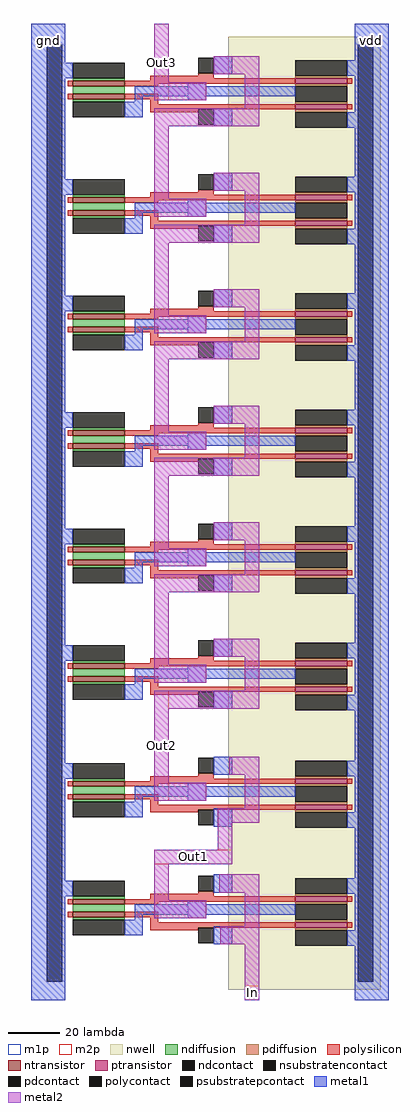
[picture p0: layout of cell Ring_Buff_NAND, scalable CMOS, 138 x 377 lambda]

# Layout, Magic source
magic
tech scmos
magscale 1 2
<< nwell >>
rect 153 174 172 188
<< metal1 >>
rect 0 0 26 754
rect 250 0 276 754
<< metal2 >>
rect 95 709 106 754
rect 141 715 176 729
rect 95 695 135 709
rect 165 689 176 715
rect 95 675 176 689
rect 95 619 106 675
rect 141 625 176 639
rect 95 605 135 619
rect 165 599 176 625
rect 95 585 176 599
rect 95 529 106 585
rect 141 535 176 549
rect 95 515 135 529
rect 165 509 176 535
rect 95 495 176 509
rect 95 439 106 495
rect 141 445 176 459
rect 95 425 135 439
rect 165 419 176 445
rect 95 405 176 419
rect 95 349 106 405
rect 141 355 176 369
rect 95 335 135 349
rect 165 329 176 355
rect 95 315 176 329
rect 95 259 106 315
rect 141 265 176 279
rect 95 245 135 259
rect 165 239 176 265
rect 95 225 176 239
rect 95 168 106 225
rect 153 174 176 188
rect 95 154 135 168
rect 165 148 176 174
rect 144 137 176 148
rect 144 116 155 137
rect 95 105 155 116
rect 95 77 106 105
rect 145 83 176 97
rect 95 63 135 77
rect 165 57 176 83
rect 146 43 176 57
rect 165 0 176 43
<< m2p >>
rect 95 695 106 754
rect 95 154 106 239
rect 95 105 155 116
rect 165 0 176 11
use NAND2X1  NAND2X1_8 ~/ETRI050_DesignKit/digital_ETRI
transform 0 1 18 -1 0 100
box -12 -8 92 252
use NAND2X1  NAND2X1_9
transform 0 1 18 -1 0 191
box -12 -8 92 252
use NAND2X1  NAND2X1_10
transform 0 1 18 -1 0 282
box -12 -8 92 252
use NAND2X1  NAND2X1_11
transform 0 1 18 -1 0 372
box -12 -8 92 252
use NAND2X1  NAND2X1_12
transform 0 1 18 -1 0 462
box -12 -8 92 252
use NAND2X1  NAND2X1_13
transform 0 1 18 -1 0 552
box -12 -8 92 252
use NAND2X1  NAND2X1_14
transform 0 1 18 -1 0 642
box -12 -8 92 252
use NAND2X1  NAND2X1_15
transform 0 1 18 -1 0 732
box -12 -8 92 252
<< labels >>
rlabel metal1 250 728 276 754 0 vdd
port 1 nsew power bidirectional abutment
rlabel metal1 0 728 26 754 0 gnd
port 2 nsew ground bidirectional abutment
rlabel metal2 165 0 176 11 0 In
port 3 nsew signal input
rlabel metal2 95 105 155 116 0 Out1
port 4 nsew signal output
rlabel metal2 95 154 106 239 0 Out2
port 5 nsew signal output
rlabel metal2 95 695 106 754 0 Out3
port 6 nsew signal output
<< end >>

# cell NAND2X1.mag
magic
tech scmos
magscale 1 2
<< nwell >>
rect -12 134 92 252
<< ntransistor >>
rect 22 14 26 54
rect 32 14 36 54
<< ptransistor >>
rect 20 186 24 226
rect 40 186 44 226
<< ndiffusion >>
rect 20 14 22 54
rect 26 14 32 54
rect 36 14 38 54
<< pdiffusion >>
rect 18 186 20 226
rect 24 186 26 226
rect 38 186 40 226
rect 44 186 46 226
<< ndcontact >>
rect 8 14 20 54
rect 38 14 50 54
<< pdcontact >>
rect 6 186 18 226
rect 26 186 38 226
rect 46 186 58 226
<< psubstratepcontact >>
rect -6 -6 86 6
<< nsubstratencontact >>
rect -6 234 86 246
<< polysilicon >>
rect 20 226 24 230
rect 40 226 44 230
rect 20 123 24 186
rect 16 111 24 123
rect 18 80 24 111
rect 40 111 44 186
rect 40 80 46 111
rect 18 74 26 80
rect 22 54 26 74
rect 32 74 46 80
rect 32 54 36 74
rect 22 10 26 14
rect 32 10 36 14
<< polycontact >>
rect 4 111 16 123
rect 44 111 56 123
<< metal1 >>
rect -6 246 86 248
rect -6 232 86 234
rect 6 226 18 232
rect 46 226 58 232
rect 3 123 17 137
rect 26 117 34 186
rect 43 123 57 137
rect 23 103 37 117
rect 26 68 34 103
rect 26 62 50 68
rect 38 54 50 62
rect 8 8 20 14
rect -6 6 86 8
rect -6 -8 86 -6
<< m1p >>
rect 3 123 17 137
rect 43 123 57 137
rect 23 103 37 117
<< labels >>
rlabel metal1 23 103 37 117 0 Y
port 2 nsew signal output
rlabel metal1 -6 -8 86 8 0 gnd
port 4 nsew ground bidirectional abutment
rlabel metal1 -6 232 86 248 0 vdd
port 3 nsew power bidirectional abutment
rlabel metal1 3 123 17 137 0 A
port 0 nsew signal input
rlabel metal1 43 123 57 137 0 B
port 1 nsew signal input
<< properties >>
string FIXED_BBOX 0 0 80 240
string LEFclass CORE
string LEFsite core
string LEFsymmetry X Y
<< end >>
